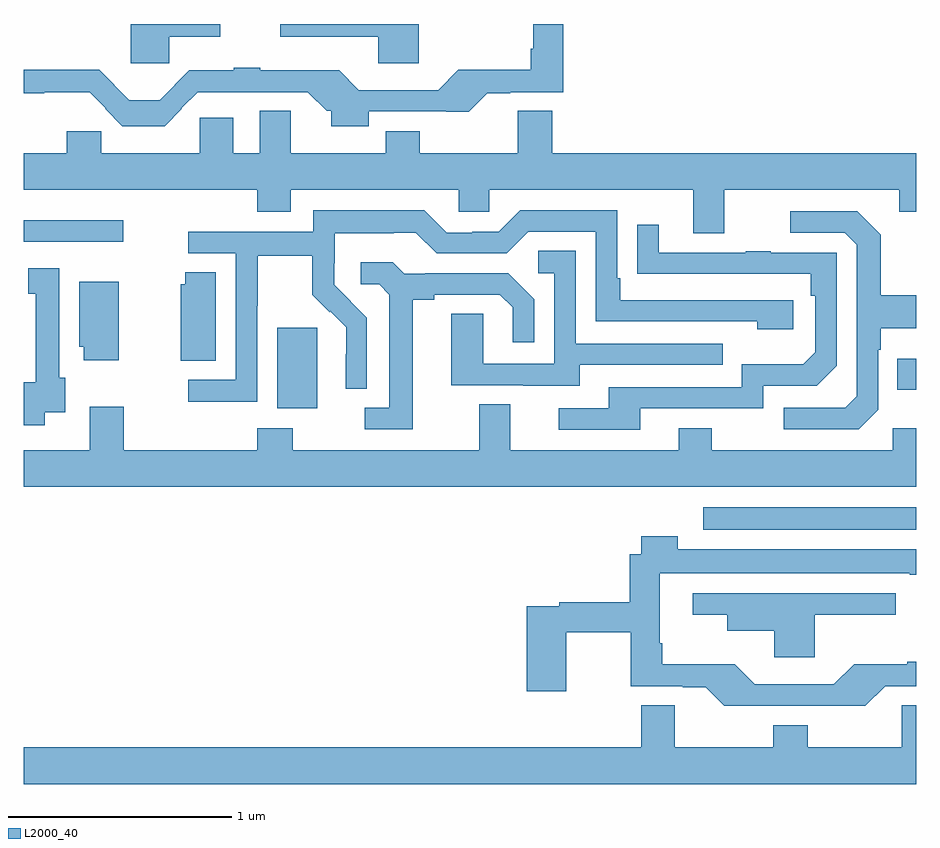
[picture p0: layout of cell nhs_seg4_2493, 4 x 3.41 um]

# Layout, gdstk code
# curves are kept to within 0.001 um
import gdstk
lib = gdstk.Library(unit=1e-6, precision=1e-09)
def R(c, l, rs):  # rectangles x0, y0, x1, y1
    for r in rs: c.add(gdstk.rectangle(r[:2], r[2:], *l))
def P(c, l, *ps):  # polygons
    for p in ps: c.add(gdstk.Polygon(p, *l))
L2000_40 = (2000, 40)

nhs_seg4_2493 = lib.new_cell('nhs_seg4_2493')
R(nhs_seg4_2493, L2000_40, [(244.047,792.632,245,792.733), (242.135,793.178,242.314,793.539), (244.915,793.259,245,793.399), (241,793.923,241.444,794.02)])
P(nhs_seg4_2493, L2000_40, [(241.652,794.843),(241.879,794.843),(241.879,794.9),(241.478,794.9),(241.478,794.724),(241.652,794.724)],
  [(242.771,794.9),(242.148,794.9),(242.148,794.843),(242.588,794.843),(242.588,794.724),(242.771,794.724)],
  [(241.708,794.519),(241.706,794.522),(241.779,794.595),(242.273,794.595),(242.357,794.511),(242.378,794.511),(242.378,794.442),(242.545,794.442),(242.545,794.508),(242.994,794.507),(243.077,794.59),(243.181,794.59),(243.181,794.595),(243.419,794.595),(243.419,794.9),(243.284,794.9),(243.284,794.788),(243.272,794.788),(243.272,794.694),(242.947,794.694),(242.858,794.604),(242.502,794.604),(242.414,794.692),(242.06,794.692),(242.06,794.704),(241.94,794.704),(241.94,794.692),(241.741,794.692),(241.608,794.559),(241.473,794.559),(241.338,794.694),(241,794.694),(241,794.59),(241.09,794.59),(241.09,794.594),(241.294,794.594),(241.367,794.522),(241.364,794.519),(241.441,794.441),(241.631,794.441)],
  [(244.141,794.156),(244.925,794.156),(244.925,794.057),(245,794.057),(245,794.32),(243.368,794.32),(243.368,794.51),(243.215,794.51),(243.215,794.32),(242.775,794.32),(242.775,794.418),(242.623,794.418),(242.623,794.32),(242.197,794.32),(242.197,794.51),(242.057,794.51),(242.057,794.32),(241.939,794.32),(241.939,794.479),(241.788,794.479),(241.788,794.32),(241.346,794.32),(241.346,794.418),(241.192,794.418),(241.192,794.32),(241,794.32),(241,794.156),(242.045,794.156),(242.045,794.057),(242.197,794.057),(242.197,794.156),(242.949,794.156),(242.949,794.058),(243.087,794.058),(243.087,794.156),(244.001,794.156),(244.001,793.962),(244.141,793.962)],
  [(242.046,793.636),(242.049,793.636),(242.049,793.86),(242.293,793.86),(242.293,793.685),(242.37,793.608),(242.373,793.611),(242.444,793.541),(242.444,793.418),(242.442,793.418),(242.442,793.264),(242.538,793.264),(242.538,793.582),(242.392,793.73),(242.392,793.827),(242.394,793.827),(242.394,793.961),(242.657,793.961),(242.657,793.965),(242.757,793.965),(242.85,793.872),(243.165,793.872),(243.261,793.968),(243.564,793.968),(243.564,793.566),(244.289,793.566),(244.289,793.532),(244.45,793.532),(244.45,793.662),(243.673,793.662),(243.673,793.759),(243.66,793.759),(243.66,794.064),(243.225,794.064),(243.129,793.968),(243.011,793.968),(243.011,793.965),(242.895,793.965),(242.795,794.065),(242.298,794.065),(242.298,793.968),(241.737,793.968),(241.737,793.872),(241.95,793.872),(241.95,793.305),(241.737,793.305),(241.737,793.207),(242.046,793.207)],
  [(244.83,793.17),(244.83,793.439),(244.843,793.439),(244.843,793.535),(245,793.535),(245,793.683),(244.843,793.683),(244.843,793.955),(244.737,794.061),(244.437,794.061),(244.437,793.965),(244.68,793.965),(244.734,793.911),(244.734,793.23),(244.683,793.179),(244.407,793.179),(244.407,793.083),(244.743,793.083)],
  [(243.763,793.176),(244.314,793.176),(244.314,793.278),(244.554,793.278),(244.644,793.368),(244.644,793.875),(244.349,793.875),(244.349,793.88),(244.237,793.88),(244.237,793.875),(243.847,793.875),(243.847,793.999),(243.751,793.999),(243.751,793.78),(244.528,793.779),(244.528,793.682),(244.548,793.682),(244.548,793.428),(244.495,793.375),(244.218,793.375),(244.218,793.272),(243.623,793.272),(243.623,793.176),(243.399,793.176),(243.399,793.08),(243.763,793.08)],
  [(243.493,793.371),(244.133,793.371),(244.133,793.467),(243.474,793.467),(243.474,793.883),(243.306,793.883),(243.306,793.782),(243.378,793.782),(243.378,793.377),(243.06,793.377),(243.06,793.601),(242.915,793.601),(242.915,793.281),(243.239,793.281),(243.239,793.277),(243.493,793.277)],
  [(242.743,793.664),(242.839,793.664),(242.839,793.686),(243.134,793.686),(243.191,793.629),(243.191,793.473),(243.288,793.473),(243.288,793.666),(243.172,793.782),(242.8,793.782),(242.8,793.779),(242.706,793.779),(242.654,793.831),(242.511,793.831),(242.511,793.734),(242.592,793.734),(242.639,793.687),(242.639,793.179),(242.529,793.179),(242.529,793.083),(242.743,793.083)],
  [(241.093,793.16),(241.186,793.16),(241.186,793.314),(241.159,793.314),(241.159,793.804),(241.019,793.804),(241.019,793.691),(241.052,793.691),(241.052,793.294),(241,793.294),(241,793.1),(241.093,793.1)],
  [(241.861,793.787),(241.723,793.787),(241.723,793.734),(241.703,793.734),(241.703,793.39),(241.861,793.39)],
  [(241.426,793.744),(241.247,793.744),(241.247,793.452),(241.268,793.452),(241.268,793.392),(241.426,793.392)],
  [(245,793.087),(244.896,793.087),(244.896,792.988),(244.083,792.988),(244.083,793.087),(243.935,793.087),(243.935,792.988),(243.181,792.988),(243.181,793.196),(243.041,793.196),(243.041,792.988),(242.205,792.988),(242.205,793.087),(242.045,793.087),(242.045,792.988),(241.448,792.988),(241.448,793.183),(241.295,793.183),(241.295,792.988),(241,792.988),(241,792.824),(245,792.824)],
  [(244.24,791.844),(244.773,791.843),(244.861,791.931),(245,791.931),(245,792.04),(244.96,792.04),(244.96,792.03),(244.722,792.03),(244.632,791.94),(244.276,791.94),(244.188,792.028),(244.088,792.028),(244.088,792.03),(243.863,792.03),(243.863,792.124),(243.85,792.124),(243.85,792.437),(244.973,792.437),(244.973,792.43),(245,792.43),(245,792.544),(243.932,792.544),(243.932,792.604),(243.767,792.604),(243.767,792.523),(243.716,792.523),(243.716,792.308),(243.4,792.308),(243.4,792.288),(243.254,792.288),(243.254,791.907),(243.432,791.907),(243.432,792.172),(243.721,792.172),(243.721,791.931),(243.953,791.931),(243.953,791.926),(244.057,791.926),(244.14,791.843)],
  [(244.547,792.25),(244.909,792.25),(244.909,792.348),(243.999,792.348),(243.999,792.25),(244.154,792.25),(244.154,792.179),(244.364,792.179),(244.364,792.06),(244.547,792.06)],
  [(245,791.846),(244.937,791.846),(244.937,791.656),(244.515,791.656),(244.515,791.755),(244.36,791.755),(244.36,791.656),(243.919,791.656),(243.919,791.846),(243.767,791.846),(243.767,791.656),(241,791.656),(241,791.492),(245,791.492)])

lib.write_gds('nhs_seg4_2493.gds')
